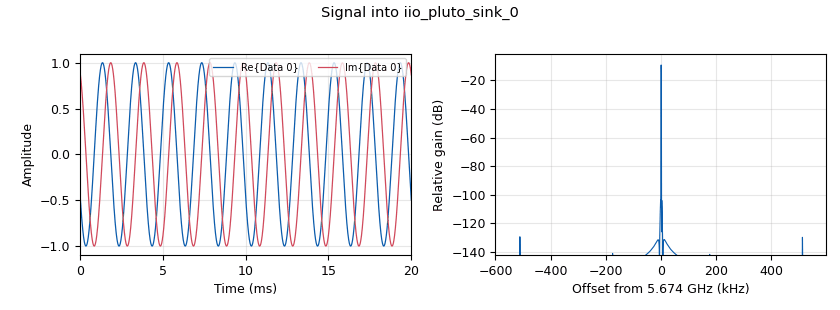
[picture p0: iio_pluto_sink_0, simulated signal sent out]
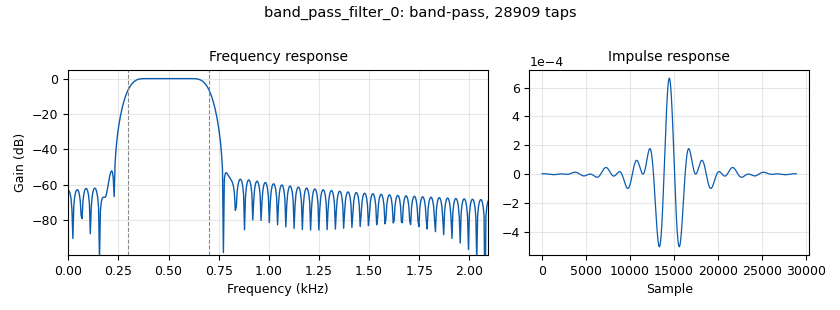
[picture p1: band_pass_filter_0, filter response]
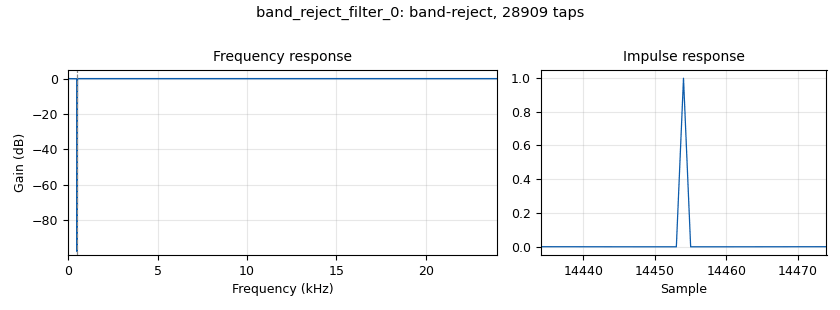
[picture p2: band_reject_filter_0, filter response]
options:
  parameters:
    generate_options: qt_gui
    id: doppler_radar_v2
    output_language: python
    title: Not titled yet
  states: {}

blocks:
- name: LO_freq
  id: variable
  parameters:
    value: '5674000000'
  states: {}
- name: audio_gain
  id: variable_qtgui_range
  parameters:
    outputmsgname: value
    showports: 'False'
    start: '0'
    step: '0.1'
    stop: '150'
    value: '50'
    widget: counter
  states: {}
- name: decimation
  id: variable
  parameters:
    value: '25'
  states: {}
- name: rx_gain
  id: variable_qtgui_range
  parameters:
    outputmsgname: value
    showports: 'False'
    start: '0'
    step: '1'
    stop: '100'
    value: '0'
  states: {}
- name: samp_rate
  id: variable
  parameters:
    value: '1200000'
  states: {}
- name: tx_attenuation
  id: variable_qtgui_range
  parameters:
    outputmsgname: value
    showports: 'False'
    start: '0'
    step: '1'
    stop: '100'
    value: '0'
  states: {}
- name: analog_sig_source_x_0
  id: analog_sig_source_x
  parameters:
    amp: '1'
    freq: '500'
    offset: '0'
    phase: '0'
    samp_rate: samp_rate
    type: complex
    waveform: analog.GR_COS_WAVE
  states: {}
- name: audio_sink_0
  id: audio_sink
  parameters:
    samp_rate: '48000'
  states: {}
- name: band_pass_filter_0
  id: band_pass_filter
  parameters:
    decim: decimation
    gain: '1'
    high_cutoff_freq: '700'
    low_cutoff_freq: '300'
    samp_rate: samp_rate
    type: fir_filter_ccf
    width: '100'
    win: window.WIN_HAMMING
  states: {}
- name: band_reject_filter_0
  id: band_reject_filter
  parameters:
    decim: '1'
    gain: '1'
    high_cutoff_freq: '510'
    low_cutoff_freq: '490'
    samp_rate: samp_rate/decimation
    type: fir_filter_ccf
    width: '4'
    win: window.WIN_HAMMING
  states: {}
- name: blocks_complex_to_real_0
  id: blocks_complex_to_real
  parameters: {}
  states: {}
- name: blocks_multiply_const_vxx_0
  id: blocks_multiply_const_vxx
  parameters:
    const: '50'
    type: complex
  states: {}
- name: iio_pluto_sink_0
  id: iio_pluto_sink
  parameters:
    attenuation1: tx_attenuation
    bandwidth: '20000000'
    buffer_size: '32768'
    cyclic: 'False'
    filter_source: '''Auto'''
    frequency: LO_freq
    samplerate: samp_rate
    type: fc32
    uri: 192.168.2.1
  states: {}
- name: iio_pluto_source_0
  id: iio_pluto_source
  parameters:
    bandwidth: '20000000'
    bbdc: 'True'
    buffer_size: '32768'
    filter_source: '''Auto'''
    frequency: LO_freq
    gain1: '''manual'''
    manual_gain1: rx_gain
    quadrature: 'True'
    rfdc: 'True'
    samplerate: samp_rate
    type: fc32
    uri: 192.168.2.1
  states: {}
- name: qtgui_freq_sink_x_0
  id: qtgui_freq_sink_x
  parameters:
    bw: samp_rate
    fc: '0'
    fftsize: '16384'
    label1: out_rx_raw
    type: complex
  states: {}
- name: qtgui_freq_sink_x_1
  id: qtgui_freq_sink_x
  parameters:
    bw: samp_rate/decimation
    fc: '0'
    fftsize: '16384'
    label1: out_bpf
    type: complex
  states: {}
- name: qtgui_freq_sink_x_2
  id: qtgui_freq_sink_x
  parameters:
    bw: samp_rate/decimation
    fc: '0'
    fftsize: '32768'
    label1: out_brf
    type: complex
  states: {}
- name: qtgui_time_sink_x_0
  id: qtgui_time_sink_x
  parameters:
    label1: out_rx_raw_re
    label2: out_rx_raw_im
    size: '16384'
    srate: samp_rate
    type: complex
    ymax: '0.1'
    ymin: '-0.1'
  states: {}
- name: qtgui_time_sink_x_1
  id: qtgui_time_sink_x
  parameters:
    label1: out_bpf_re
    label2: out_bpf_im
    size: '1024'
    srate: samp_rate/decimation
    type: complex
    ymax: '0.1'
    ymin: '-0.1'
  states: {}
- name: qtgui_time_sink_x_2
  id: qtgui_time_sink_x
  parameters:
    label1: out_brf_re
    label2: out_brf_im
    size: '1024'
    srate: samp_rate/decimation
    type: complex
    ymax: '0.01'
    ymin: '-0.01'
  states: {}

connections:
- [analog_sig_source_x_0, '0', iio_pluto_sink_0, '0']
- [band_pass_filter_0, '0', band_reject_filter_0, '0']
- [band_pass_filter_0, '0', qtgui_freq_sink_x_1, '0']
- [band_pass_filter_0, '0', qtgui_time_sink_x_1, '0']
- [band_reject_filter_0, '0', blocks_multiply_const_vxx_0, '0']
- [band_reject_filter_0, '0', qtgui_freq_sink_x_2, '0']
- [band_reject_filter_0, '0', qtgui_time_sink_x_2, '0']
- [blocks_complex_to_real_0, '0', audio_sink_0, '0']
- [blocks_multiply_const_vxx_0, '0', blocks_complex_to_real_0, '0']
- [iio_pluto_source_0, '0', band_pass_filter_0, '0']
- [iio_pluto_source_0, '0', qtgui_freq_sink_x_0, '0']
- [iio_pluto_source_0, '0', qtgui_time_sink_x_0, '0']

metadata:
  file_format: 1
  grc_version: 3.10.4.0
